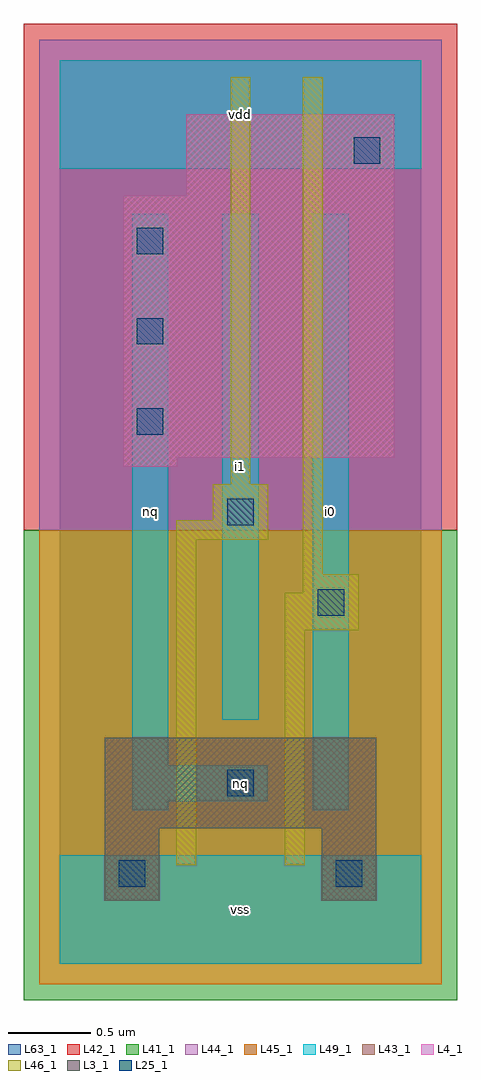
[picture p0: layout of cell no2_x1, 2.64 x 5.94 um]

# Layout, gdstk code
import gdstk
lib = gdstk.Library(unit=1e-6, precision=1e-09)
def R(c, l, rs):  # rectangles x0, y0, x1, y1
    for r in rs: c.add(gdstk.rectangle(r[:2], r[2:], *l))
def A(c, l, x, y, w, h, nx, ny, dx, dy):  # array of equal rectangles
    R(c, l, [(x+i*dx, y+j*dy, x+i*dx+w, y+j*dy+h) for i in range(nx) for j in range(ny)])
L3_1 = (3, 1)
L4_1 = (4, 1)
L25_1 = (25, 1)
L41_1 = (41, 1)
L42_1 = (42, 1)
L43_1 = (43, 1)
L44_1 = (44, 1)
L45_1 = (45, 1)
L46_1 = (46, 1)
L49_1 = (49, 1)
L63_1 = (63, 1)

no2_x1 = lib.new_cell('no2_x1')
R(no2_x1, L3_1, [(0.275,0.385,0.605,0.825), (1.595,0.385,1.925,0.825), (0.275,0.825,1.925,1.375)])
R(no2_x1, L4_1, [(0.385,3.025,0.715,3.08), (0.385,3.08,2.035,4.675), (0.77,4.675,2.035,5.17)])
A(no2_x1, L25_1, 0.47, 3.22, 0.16, 0.16, 1, 3, 0, 0.55)
R(no2_x1, L25_1, [(0.36,0.47,0.52,0.63), (1.68,0.47,1.84,0.63), (1.02,1.02,1.18,1.18), (1.57,2.12,1.73,2.28), (1.02,2.67,1.18,2.83), (1.79,4.87,1.95,5.03)])
R(no2_x1, L41_1, [(-0.22,-0.22,2.42,2.64)])
R(no2_x1, L42_1, [(-0.22,2.64,2.42,5.72)])
R(no2_x1, L43_1, [(0.275,0.385,0.605,0.825), (1.595,0.385,1.925,0.825), (0.275,0.825,1.925,1.375), (0.385,3.025,0.715,3.08), (0.385,3.08,2.035,4.675), (0.77,4.675,2.035,5.17)])
R(no2_x1, L44_1, [(-0.125,2.64,2.325,5.625)])
R(no2_x1, L45_1, [(-0.125,-0.125,2.325,2.64)])
R(no2_x1, L46_1, [(0.71,0.6,0.83,2.58), (1.37,0.6,1.49,2.03), (1.37,2.03,1.82,2.26), (1.48,2.26,1.82,2.37), (1.48,2.37,1.6,5.395), (0.71,2.58,1.27,2.7), (0.93,2.7,1.27,2.92), (1.04,2.92,1.16,5.395)])
R(no2_x1, L49_1, [(0,0,2.2,0.66), (0.44,0.935,0.66,0.99), (1.54,0.935,1.76,4.565), (0.44,0.99,1.265,1.21), (0.44,1.21,0.66,4.565), (0.99,1.485,1.21,4.565), (0,4.84,2.2,5.5)])
R(no2_x1, L63_1, [(0,0,2.2,5.5)])
no2_x1.add(gdstk.Label('nq', (0.55,2.75), layer=49, texttype=1))
no2_x1.add(gdstk.Label('nq', (1.1,1.1), layer=49, texttype=1))
no2_x1.add(gdstk.Label('vss', (1.1,0.33), layer=49, texttype=1))
no2_x1.add(gdstk.Label('i1', (1.1,3.025), layer=49, texttype=1))
no2_x1.add(gdstk.Label('vdd', (1.1,5.17), layer=49, texttype=1))
no2_x1.add(gdstk.Label('i0', (1.65,2.75), layer=49, texttype=1))

lib.write_gds('no2_x1.gds')
